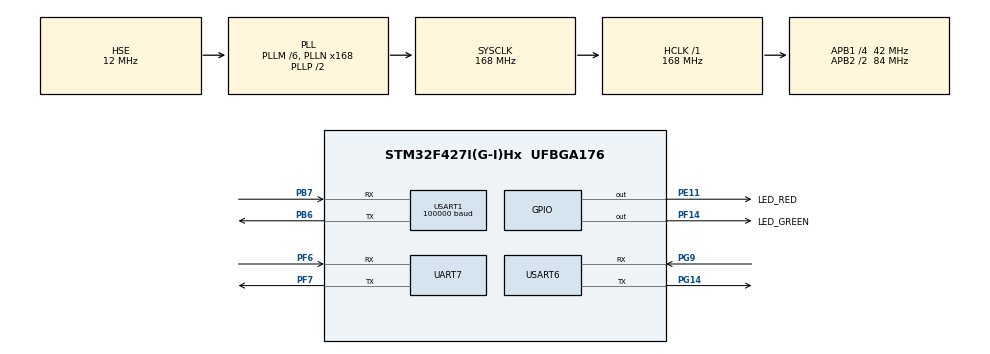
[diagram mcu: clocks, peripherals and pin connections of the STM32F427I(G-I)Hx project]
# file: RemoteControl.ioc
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Dma.Request0=USART1_RX
Dma.USART1_RX.0.Direction=DMA_PERIPH_TO_MEMORY
Dma.USART1_RX.0.FIFOMode=DMA_FIFOMODE_DISABLE
Dma.USART1_RX.0.Instance=DMA2_Stream2
Dma.USART1_RX.0.MemDataAlignment=DMA_MDATAALIGN_BYTE
Dma.USART1_RX.0.MemInc=DMA_MINC_ENABLE
Dma.USART1_RX.0.Mode=DMA_CIRCULAR
Dma.USART1_RX.0.PeriphDataAlignment=DMA_PDATAALIGN_BYTE
Dma.USART1_RX.0.PeriphInc=DMA_PINC_DISABLE
Dma.USART1_RX.0.Priority=DMA_PRIORITY_LOW
Mcu.Family=STM32F4
Mcu.Name=STM32F427I(G-I)Hx
Mcu.Package=UFBGA176
NVIC.DMA2_Stream2_IRQn=true\:0\:0\:false\:false\:true\:false\:true
NVIC.PriorityGroup=NVIC_PRIORITYGROUP_4
NVIC.USART1_IRQn=true\:1\:0\:true\:false\:true\:true\:true
NVIC.USART6_IRQn=true\:0\:0\:false\:false\:true\:true\:true
PA13.Mode=Serial_Wire
PA13.Signal=SYS_JTMS-SWDIO
PA14.Mode=Serial_Wire
PA14.Signal=SYS_JTCK-SWCLK
PB6.Mode=Asynchronous
PB6.Signal=USART1_TX
PB7.Mode=Asynchronous
PB7.Signal=USART1_RX
PE11.GPIO_Label=LED_RED
PE11.Signal=GPIO_Output
PF14.GPIO_Label=LED_GREEN
PF14.Signal=GPIO_Output
PF6.Mode=Asynchronous
PF6.Signal=UART7_RX
PF7.Mode=Asynchronous
PF7.Signal=UART7_TX
PG14.Mode=Asynchronous
PG14.Signal=USART6_TX
PG9.Mode=Asynchronous
PG9.Signal=USART6_RX
PH0/OSC_IN.Mode=HSE-External-Oscillator
PH0/OSC_IN.Signal=RCC_OSC_IN
PH1/OSC_OUT.Mode=HSE-External-Oscillator
PH1/OSC_OUT.Signal=RCC_OSC_OUT
ProjectManager.HeapSize=0x200
ProjectManager.StackSize=0x400
ProjectManager.TargetToolchain=MDK-ARM V5
RCC.48MHZClocksFreq_Value=84000000
RCC.AHBFreq_Value=168000000
RCC.APB1CLKDivider=RCC_HCLK_DIV4
RCC.APB1Freq_Value=42000000
RCC.APB1TimFreq_Value=84000000
RCC.APB2CLKDivider=RCC_HCLK_DIV2
RCC.APB2Freq_Value=84000000
RCC.APB2TimFreq_Value=168000000
RCC.CortexFreq_Value=168000000
RCC.HCLKFreq_Value=168000000
RCC.HSE_VALUE=12000000
RCC.HSI_VALUE=16000000
RCC.LSE_VALUE=32768
RCC.PLLM=6
RCC.PLLN=168
RCC.PLLSourceVirtual=RCC_PLLSOURCE_HSE
RCC.SYSCLKFreq_VALUE=168000000
RCC.SYSCLKSource=RCC_SYSCLKSOURCE_PLLCLK
RCC.VCOOutputFreq_Value=336000000
UART7.VirtualMode=Asynchronous
USART1.BaudRate=100000
USART1.Parity=PARITY_EVEN
USART1.VirtualMode=VM_ASYNC
USART6.VirtualMode=VM_ASYNC
board=RemoteControl

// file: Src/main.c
/**
  ******************************************************************************
  * @file           : main.c
  * @brief          : Main program body
  ******************************************************************************
  ** This notice applies to any and all portions of this file
  * that are not between comment pairs USER CODE BEGIN and
  * USER CODE END. Other portions of this file, whether
  * inserted by the user or by software development tools
  * are owned by their respective copyright owners.
  *
  * COPYRIGHT(c) 2020 STMicroelectronics
  *
  * Redistribution and use in source and binary forms, with or without modification,
  * are permitted provided that the following conditions are met:
  *   1. Redistributions of source code must retain the above copyright notice,
  *      this list of conditions and the following disclaimer.
  *   2. Redistributions in binary form must reproduce the above copyright notice,
  *      this list of conditions and the following disclaimer in the documentation
  *      and/or other materials provided with the distribution.
  *   3. Neither the name of STMicroelectronics nor the names of its contributors
  *      may be used to endorse or promote products derived from this software
  *      without specific prior written permission.
  *
  * THIS SOFTWARE IS PROVIDED BY THE COPYRIGHT HOLDERS AND CONTRIBUTORS "AS IS"
  * AND ANY EXPRESS OR IMPLIED WARRANTIES, INCLUDING, BUT NOT LIMITED TO, THE
  * IMPLIED WARRANTIES OF MERCHANTABILITY AND FITNESS FOR A PARTICULAR PURPOSE ARE
  * DISCLAIMED. IN NO EVENT SHALL THE COPYRIGHT HOLDER OR CONTRIBUTORS BE LIABLE
  * FOR ANY DIRECT, INDIRECT, INCIDENTAL, SPECIAL, EXEMPLARY, OR CONSEQUENTIAL
  * DAMAGES (INCLUDING, BUT NOT LIMITED TO, PROCUREMENT OF SUBSTITUTE GOODS OR
  * SERVICES; LOSS OF USE, DATA, OR PROFITS; OR BUSINESS INTERRUPTION) HOWEVER
  * CAUSED AND ON ANY THEORY OF LIABILITY, WHETHER IN CONTRACT, STRICT LIABILITY,
  * OR TORT (INCLUDING NEGLIGENCE OR OTHERWISE) ARISING IN ANY WAY OUT OF THE USE
  * OF THIS SOFTWARE, EVEN IF ADVISED OF THE POSSIBILITY OF SUCH DAMAGE.
  *
  ******************************************************************************
  */
#include "main.h"
#include "stm32f4xx_hal.h"
#include "dma.h"
#include "usart.h"
#include "gpio.h"

/* USER CODE BEGIN Includes */
#include "bsp_uart.h"

/* USER CODE END Includes */

/* USER CODE BEGIN PV */
/* Private variables ---------------------------------------------------------*/
extern rc_info_t rc;
char buf[200];
int count;
/* USER CODE END PV */

void SystemClock_Config(void);

/* USER CODE BEGIN PFP */
/* Private function prototypes -----------------------------------------------*/

/* USER CODE END PFP */

/* USER CODE BEGIN 0 */
#ifdef __GNUC__
  /* With GCC/RAISONANCE, small printf (option LD Linker->Libraries->Small printf
     set to 'Yes') calls __io_putchar() */
  #define PUTCHAR_PROTOTYPE int __io_putchar(int ch)
#else
  #define PUTCHAR_PROTOTYPE int fputc(int ch, FILE *f)
#endif /* __GNUC__ */

/* USER CODE END 0 */

int main(void)
{

  /* MCU Configuration----------------------------------------------------------*/

  /* Reset of all peripherals, Initializes the Flash interface and the Systick. */
  HAL_Init();

  /* Configure the system clock */
  SystemClock_Config();

  /* Initialize all configured peripherals */
  MX_GPIO_Init();
  MX_DMA_Init();
  MX_USART6_UART_Init();
  MX_USART1_UART_Init();
  MX_UART7_Init();
  /* USER CODE BEGIN 2 */
	led_off();
	/* open dbus uart receive it */
	dbus_uart_init();
		printf("1");
  /* USER CODE END 2 */

  /* Infinite loop */
  while (1)
  {

  /* USER CODE BEGIN 3 */

	sprintf(buf, "CH1: %4d  CH2: %4d  CH3: %4d  CH4: %4d  SW1: %1d  SW2: %1d \n", rc.ch1, rc.ch2, rc.ch3, rc.ch4, rc.sw1, rc.sw2);
	HAL_UART_Transmit(&huart7, (uint8_t *)buf, (COUNTOF(buf) - 1), 55);
	HAL_Delay(50);
	printf("1");
	if (count==10)
	{
		HAL_GPIO_TogglePin(LED_GREEN_GPIO_Port, LED_GREEN_Pin);
		count=0;
	}
  }
  /* USER CODE END 3 */

}

void SystemClock_Config(void)
{

  RCC_OscInitTypeDef RCC_OscInitStruct;
  RCC_ClkInitTypeDef RCC_ClkInitStruct;

    /**Configure the main internal regulator output voltage
    */
  __HAL_RCC_PWR_CLK_ENABLE();

  __HAL_PWR_VOLTAGESCALING_CONFIG(PWR_REGULATOR_VOLTAGE_SCALE1);

    /**Initializes the CPU, AHB and APB busses clocks
    */
  RCC_OscInitStruct.OscillatorType = RCC_OSCILLATORTYPE_HSE;
  RCC_OscInitStruct.HSEState = RCC_HSE_ON;
  RCC_OscInitStruct.PLL.PLLState = RCC_PLL_ON;
  RCC_OscInitStruct.PLL.PLLSource = RCC_PLLSOURCE_HSE;
  RCC_OscInitStruct.PLL.PLLM = 6;
  RCC_OscInitStruct.PLL.PLLN = 168;
  RCC_OscInitStruct.PLL.PLLP = RCC_PLLP_DIV2;
  RCC_OscInitStruct.PLL.PLLQ = 4;
  if (HAL_RCC_OscConfig(&RCC_OscInitStruct) != HAL_OK)
  {
    _Error_Handler(__FILE__, __LINE__);
  }

    /**Initializes the CPU, AHB and APB busses clocks
    */
  RCC_ClkInitStruct.ClockType = RCC_CLOCKTYPE_HCLK|RCC_CLOCKTYPE_SYSCLK
                              |RCC_CLOCKTYPE_PCLK1|RCC_CLOCKTYPE_PCLK2;
  RCC_ClkInitStruct.SYSCLKSource = RCC_SYSCLKSOURCE_PLLCLK;
  RCC_ClkInitStruct.AHBCLKDivider = RCC_SYSCLK_DIV1;
  RCC_ClkInitStruct.APB1CLKDivider = RCC_HCLK_DIV4;
  RCC_ClkInitStruct.APB2CLKDivider = RCC_HCLK_DIV2;

  if (HAL_RCC_ClockConfig(&RCC_ClkInitStruct, FLASH_LATENCY_5) != HAL_OK)
  {
    _Error_Handler(__FILE__, __LINE__);
  }

    /**Configure the Systick interrupt time
    */
  HAL_SYSTICK_Config(HAL_RCC_GetHCLKFreq()/1000);

    /**Configure the Systick
    */
  HAL_SYSTICK_CLKSourceConfig(SYSTICK_CLKSOURCE_HCLK);

  /* SysTick_IRQn interrupt configuration */
  HAL_NVIC_SetPriority(SysTick_IRQn, 0, 0);
}

void _Error_Handler(char *file, int line)
{
  while(1)
  {
  }
}

/************************ (C) COPYRIGHT STMicroelectronics *****END OF FILE****/
